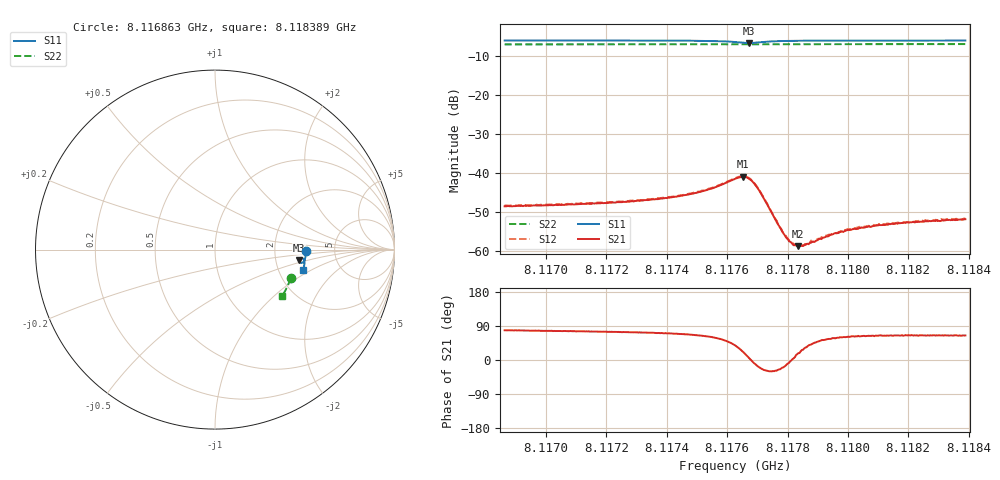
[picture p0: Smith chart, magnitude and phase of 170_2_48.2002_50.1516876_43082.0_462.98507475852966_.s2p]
#  HZ  S  RI  R  50.00
! Rohde & Schwarz Vector Network Analyzer
! Rohde-Schwarz,ZNB20-2Port,1311601062101988,3.16
! Created: UTC 3/20/2024, 11:43:41 AM
! freq[Hz]  re:S11  im:S11  re:S21  im:S21  re:S12  im:S12  re:S22  im:S22
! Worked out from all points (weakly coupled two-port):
!   401 points, 8.116863 GHz to 8.118389 GHz, reference 50 ohm
!   highest |S21| = -40.94 dB at 8.117653 GHz (marker M1); lowest = -58.8 dB at 8.117836 GHz (marker M2)
!   lowest |S11| = -6.6 dB at 8.117672 GHz (marker M3), VSWR 2.77, Z = 135 - j20.4 ohm
!   |S11| at or under -10 dB: nowhere
!   |S22| runs from -6.9 to -6.8 dB; largest |S21 - S12| = 0.00024
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8.1168628e9  0.5063 -0.00656  0.000749 0.00367  0.000795 0.00374  0.421 -0.1603
8.1171185e9  0.5052 -0.0266  0.000986 0.0039  0.00103 0.00395  0.4149 -0.1771
8.1172673e9  0.5039 -0.0389  0.00122 0.00411  0.0013 0.00417  0.4111 -0.1868
8.1173742e9  0.5022 -0.0484  0.0015 0.00442  0.00156 0.00451  0.4085 -0.1936
8.1174429e9  0.5006 -0.055  0.00184 0.00472  0.00191 0.0048  0.4064 -0.1983
8.1175154e9  0.4974 -0.0632  0.00256 0.00524  0.00265 0.00534  0.404 -0.2029
8.1175574e9  0.4935 -0.0686  0.00332 0.00561  0.00346 0.0057  0.4028 -0.2056
8.1176261e9  0.4778 -0.0745  0.00659 0.00529  0.00678 0.00533  0.4 -0.2098
8.1176528e9  0.4683 -0.0685  0.00835 0.00329  0.00852 0.00326  0.3989 -0.211
8.1176719e9  0.4658 -0.0588  0.00846 0.000881  0.00867 0.000773  0.3983 -0.2117
8.1176871e9  0.4689 -0.0513  0.00752 -0.000884  0.00763 -0.000956  0.3982 -0.2124
8.1177062e9  0.4766 -0.0464  0.00567 -0.00197  0.00571 -0.00205  0.398 -0.2134
8.1177749e9  0.4943 -0.0541  0.00183 -0.000836  0.00181 -0.000853  0.3966 -0.2179
8.1177978e9  0.4963 -0.0578  0.00142 -0.000291  0.00146 -0.000304  0.396 -0.2195
8.1178131e9  0.4971 -0.06  0.00128 -2.33e-05  0.0013 -3.45e-05  0.3957 -0.2206
8.117836e9  0.4978 -0.0633  0.0011 0.000356  0.00114 0.000345  0.395 -0.222
8.117855e9  0.4982 -0.0659  0.00102 0.000594  0.00103 0.000603  0.3944 -0.2234
8.1178818e9  0.4985 -0.0689  0.000968 0.000886  0.000956 0.000898  0.3934 -0.225
8.1179276e9  0.4985 -0.074  0.000897 0.00124  0.00089 0.0013  0.392 -0.228
8.1179962e9  0.498 -0.0805  0.000901 0.00161  0.000948 0.00164  0.3897 -0.2321
8.1181374e9  0.4963 -0.0928  0.000961 0.00201  0.000977 0.00203  0.385 -0.2409
8.1183893e9  0.4922 -0.1124  0.00109 0.00232  0.00112 0.00234  0.3759 -0.2562
